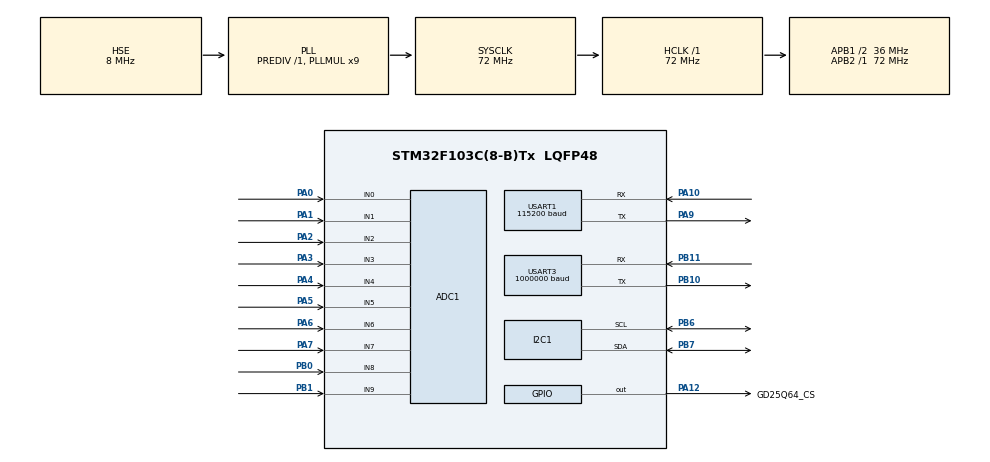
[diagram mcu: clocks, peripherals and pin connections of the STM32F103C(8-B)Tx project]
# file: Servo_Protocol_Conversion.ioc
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ADC1.Channel-0\#ChannelRegularConversion=ADC_CHANNEL_0
ADC1.NbrOfConversionFlag=1
ADC1.Rank-0\#ChannelRegularConversion=1
ADC1.SamplingTime-0\#ChannelRegularConversion=ADC_SAMPLETIME_239CYCLES_5
ADC1.master=1
I2C1.I2C_Mode=I2C_Standard
Mcu.Family=STM32F1
Mcu.Name=STM32F103C(8-B)Tx
Mcu.Package=LQFP48
NVIC.PriorityGroup=NVIC_PRIORITYGROUP_4
NVIC.USART3_IRQn=true\:0\:0\:false\:false\:true\:true\:true\:true
PA0-WKUP.Signal=ADCx_IN0
PA1.Signal=ADCx_IN1
PA10.Mode=Asynchronous
PA10.Signal=USART1_RX
PA12.GPIO_Label=GD25Q64_CS
PA12.PinState=GPIO_PIN_SET
PA12.Signal=GPIO_Output
PA13.Mode=Serial_Wire
PA13.Signal=SYS_JTMS-SWDIO
PA14.Mode=Serial_Wire
PA14.Signal=SYS_JTCK-SWCLK
PA2.Signal=ADCx_IN2
PA3.Signal=ADCx_IN3
PA4.Signal=ADCx_IN4
PA5.Signal=ADCx_IN5
PA6.Signal=ADCx_IN6
PA7.Signal=ADCx_IN7
PA9.Mode=Asynchronous
PA9.Signal=USART1_TX
PB0.Signal=ADCx_IN8
PB1.Signal=ADCx_IN9
PB10.Mode=Asynchronous
PB10.Signal=USART3_TX
PB11.Mode=Asynchronous
PB11.Signal=USART3_RX
PB6.Mode=I2C
PB6.Signal=I2C1_SCL
PB7.Mode=I2C
PB7.Signal=I2C1_SDA
PD0-OSC_IN.Mode=HSE-External-Oscillator
PD0-OSC_IN.Signal=RCC_OSC_IN
PD1-OSC_OUT.Mode=HSE-External-Oscillator
PD1-OSC_OUT.Signal=RCC_OSC_OUT
ProjectManager.HeapSize=0x200
ProjectManager.StackSize=0x400
ProjectManager.TargetToolchain=MDK-ARM V5.32
RCC.ADCPresc=RCC_ADCPCLK2_DIV6
RCC.AHBFreq_Value=72000000
RCC.APB1CLKDivider=RCC_HCLK_DIV2
RCC.APB1Freq_Value=36000000
RCC.APB1TimFreq_Value=72000000
RCC.APB2Freq_Value=72000000
RCC.APB2TimFreq_Value=72000000
RCC.HCLKFreq_Value=72000000
RCC.PLLMUL=RCC_PLL_MUL9
RCC.PLLSourceVirtual=RCC_PLLSOURCE_HSE
RCC.SYSCLKFreq_VALUE=72000000
RCC.SYSCLKSource=RCC_SYSCLKSOURCE_PLLCLK
RCC.USBFreq_Value=72000000
SH.ADCx_IN0.0=ADC1_IN0,IN0
SH.ADCx_IN1.0=ADC1_IN1,IN1
SH.ADCx_IN2.0=ADC1_IN2,IN2
SH.ADCx_IN3.0=ADC1_IN3,IN3
SH.ADCx_IN4.0=ADC1_IN4,IN4
SH.ADCx_IN5.0=ADC1_IN5,IN5
SH.ADCx_IN6.0=ADC1_IN6,IN6
SH.ADCx_IN7.0=ADC1_IN7,IN7
SH.ADCx_IN8.0=ADC1_IN8,IN8
SH.ADCx_IN9.0=ADC1_IN9,IN9
USART1.BaudRate=115200
USART1.VirtualMode=VM_ASYNC
USART3.BaudRate=1000000
USART3.VirtualMode=VM_ASYNC
board=custom

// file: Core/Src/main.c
/* USER CODE BEGIN Header */
/**
 ******************************************************************************
 * @file           : main.c
 * @brief          : Main program body
 ******************************************************************************
 * @attention
 *
 * Copyright (c) 2026 STMicroelectronics.
 * All rights reserved.
 *
 * This software is licensed under terms that can be found in the LICENSE file
 * in the root directory of this software component.
 * If no LICENSE file comes with this software, it is provided AS-IS.
 *
 ******************************************************************************
 */
/* USER CODE END Header */
#include "main.h"
#include "adc.h"
#include "i2c.h"
#include "usart.h"
#include "gpio.h"

/* USER CODE BEGIN Includes */
#include <stdio.h>
#include <string.h>

#include "message.h"
#include "control.h"

#define MESSAGE_SIZE 64

char message_buffer[MESSAGE_SIZE] = {0};
control_t amazinghand_control;

/* USER CODE END Includes */

void SystemClock_Config(void);

/* USER CODE BEGIN 0 */
#if 1
int fputc(int ch, FILE *f)
{
  HAL_UART_Transmit(&huart1, (uint8_t *)&ch, 1, 0xffff);
  return ch;
}
#endif

void HAL_UART_RxCpltCallback(UART_HandleTypeDef *huart)
{
  if (huart == &huart3)
  {
    bll_message_get();
  }
}

/* USER CODE END 0 */

int main(void)
{

  /* MCU Configuration--------------------------------------------------------*/

  /* Reset of all peripherals, Initializes the Flash interface and the Systick. */
  HAL_Init();

  /* Configure the system clock */
  SystemClock_Config();

  /* Initialize all configured peripherals */
  MX_GPIO_Init();
  MX_USART1_UART_Init();
  MX_I2C1_Init();
  MX_ADC1_Init();
  MX_USART3_UART_Init();
  /* USER CODE BEGIN 2 */
#if 1
  printf("Software update date: 2026/9/20 14:01\n");
#endif

  amazinghand_control.huart = &huart3;
  amazinghand_control.hi2c = &hi2c1;
  amazinghand_control.hadc = &hadc1;

  if (bll_control_init(amazinghand_control) == 1)
  {
#if 1
    printf("Control initialization failed\n");
#endif
    HAL_NVIC_SystemReset();
  }

  if (bll_message_init(&huart3) == 1)
  {
#if 1
    printf("Message initialization failed\n");
#endif
    HAL_NVIC_SystemReset();
  }

  /* USER CODE END 2 */

  /* Infinite loop */
  while (1)
  {

    /* USER CODE BEGIN 3 */
    if (bll_message_relase(message_buffer, MESSAGE_SIZE) == 0)
    {
#if 1
      printf("Host : ");
      for (uint8_t i = 0; i < (6 + message_buffer[3] - 2); i++)
      {
        printf("%02X ", message_buffer[i]);
      }
      printf("\n");
#endif

      bll_control_hand((uint8_t *)message_buffer, MESSAGE_SIZE);
      memset(message_buffer, 0, MESSAGE_SIZE);
    }
  }
  /* USER CODE END 3 */
}

void SystemClock_Config(void)
{
  RCC_OscInitTypeDef RCC_OscInitStruct = {0};
  RCC_ClkInitTypeDef RCC_ClkInitStruct = {0};
  RCC_PeriphCLKInitTypeDef PeriphClkInit = {0};

  /** Initializes the RCC Oscillators according to the specified parameters
  * in the RCC_OscInitTypeDef structure.
  */
  RCC_OscInitStruct.OscillatorType = RCC_OSCILLATORTYPE_HSE;
  RCC_OscInitStruct.HSEState = RCC_HSE_ON;
  RCC_OscInitStruct.HSEPredivValue = RCC_HSE_PREDIV_DIV1;
  RCC_OscInitStruct.HSIState = RCC_HSI_ON;
  RCC_OscInitStruct.PLL.PLLState = RCC_PLL_ON;
  RCC_OscInitStruct.PLL.PLLSource = RCC_PLLSOURCE_HSE;
  RCC_OscInitStruct.PLL.PLLMUL = RCC_PLL_MUL9;
  if (HAL_RCC_OscConfig(&RCC_OscInitStruct) != HAL_OK)
  {
    Error_Handler();
  }

  /** Initializes the CPU, AHB and APB buses clocks
  */
  RCC_ClkInitStruct.ClockType = RCC_CLOCKTYPE_HCLK|RCC_CLOCKTYPE_SYSCLK
                              |RCC_CLOCKTYPE_PCLK1|RCC_CLOCKTYPE_PCLK2;
  RCC_ClkInitStruct.SYSCLKSource = RCC_SYSCLKSOURCE_PLLCLK;
  RCC_ClkInitStruct.AHBCLKDivider = RCC_SYSCLK_DIV1;
  RCC_ClkInitStruct.APB1CLKDivider = RCC_HCLK_DIV2;
  RCC_ClkInitStruct.APB2CLKDivider = RCC_HCLK_DIV1;

  if (HAL_RCC_ClockConfig(&RCC_ClkInitStruct, FLASH_LATENCY_2) != HAL_OK)
  {
    Error_Handler();
  }
  PeriphClkInit.PeriphClockSelection = RCC_PERIPHCLK_ADC;
  PeriphClkInit.AdcClockSelection = RCC_ADCPCLK2_DIV6;
  if (HAL_RCCEx_PeriphCLKConfig(&PeriphClkInit) != HAL_OK)
  {
    Error_Handler();
  }
}

void Error_Handler(void)
{
  __disable_irq();
  while (1)
  {
  }
}
